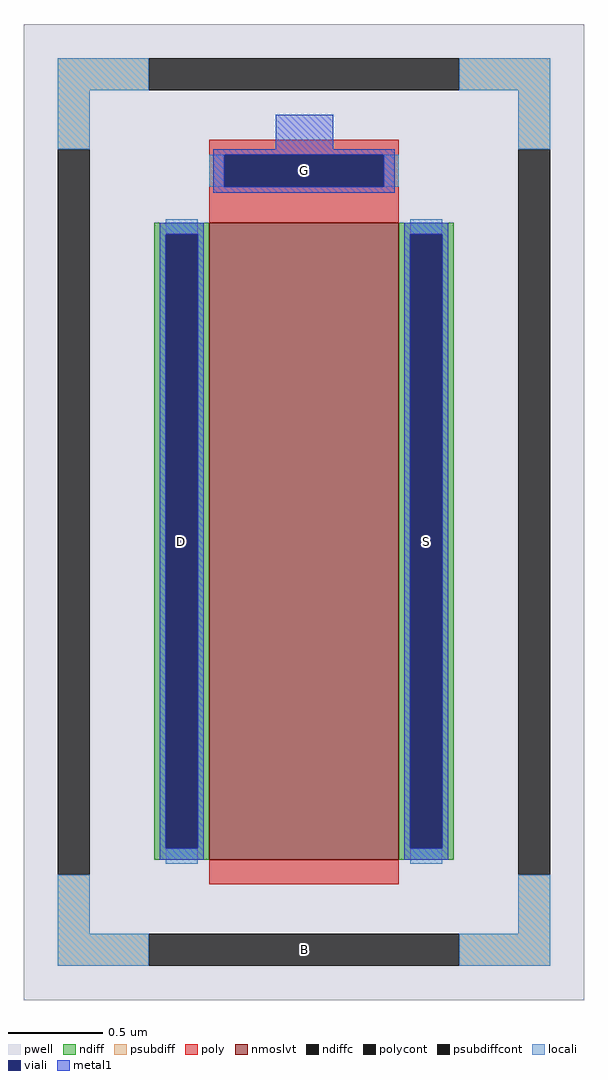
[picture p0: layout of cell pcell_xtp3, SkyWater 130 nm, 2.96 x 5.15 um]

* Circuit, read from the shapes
.subckt pcell_xtp3 B D S G
XM1 S G D B sky130_fd_pr__nfet_01v8_lvt w=3.36 l=1
.ends

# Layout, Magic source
magic
tech sky130A
magscale 1 2
<< pwell >>
rect -296 -515 296 515
<< nmoslvt >>
rect -100 -367 100 305
<< ndiff >>
rect -158 293 -100 305
rect -158 -355 -146 293
rect -112 -355 -100 293
rect -158 -367 -100 -355
rect 100 293 158 305
rect 100 -355 112 293
rect 146 -355 158 293
rect 100 -367 158 -355
<< ndiffc >>
rect -146 -355 -112 293
rect 112 -355 146 293
<< psubdiff >>
rect -260 445 -164 479
rect 164 445 260 479
rect -260 383 -226 445
rect 226 383 260 445
rect -260 -445 -226 -383
rect 226 -445 260 -383
rect -260 -479 -164 -445
rect 164 -479 260 -445
<< psubdiffcont >>
rect -164 445 164 479
rect -260 -383 -226 383
rect 226 -383 260 383
rect -164 -479 164 -445
<< poly >>
rect -100 377 100 393
rect -100 343 -84 377
rect 84 343 100 377
rect -100 305 100 343
rect -100 -393 100 -367
<< polycont >>
rect -84 343 84 377
<< locali >>
rect -260 445 -164 479
rect 164 445 260 479
rect -260 383 -226 445
rect 226 383 260 445
rect -100 343 -84 377
rect 84 343 100 377
rect -146 293 -112 309
rect -146 -371 -112 -355
rect 112 293 146 309
rect 112 -371 146 -355
rect -260 -445 -226 -383
rect 226 -445 260 -383
rect -260 -479 -164 -445
rect 164 -479 260 -445
<< viali >>
rect -84 343 84 377
rect -146 -355 -112 293
rect 112 -355 146 293
<< metal1 >>
rect -30 383 31 419
rect -96 377 96 383
rect -96 343 -84 377
rect 84 343 96 377
rect -96 337 96 343
rect -152 293 -106 305
rect -152 -355 -146 293
rect -112 -355 -106 293
rect -152 -367 -106 -355
rect 106 293 152 305
rect 106 -355 112 293
rect 146 -355 152 293
rect 106 -367 152 -355
<< labels >>
rlabel psubdiffcont 0 -462 0 -462 0 B
port 1 nsew
rlabel ndiffc -129 -31 -129 -31 0 D
port 2 nsew
rlabel ndiffc 129 -31 129 -31 0 S
port 3 nsew
rlabel polycont 0 360 0 360 0 G
port 4 nsew
<< end >>
